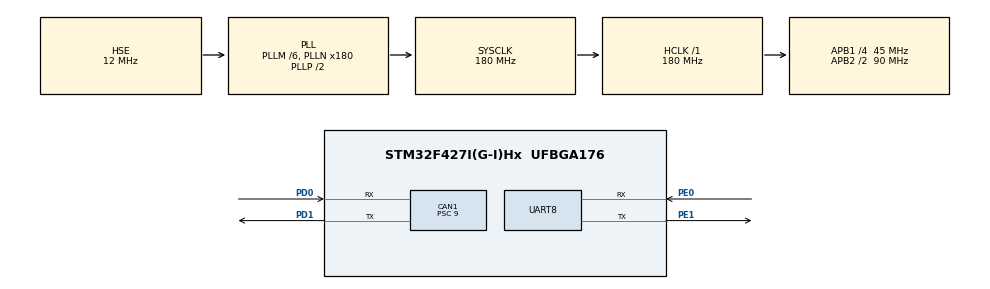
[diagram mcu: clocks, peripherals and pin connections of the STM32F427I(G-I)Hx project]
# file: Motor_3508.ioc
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CAN1.BS1=CAN_BS1_3TQ
CAN1.CalculateBaudRate=1000000
CAN1.CalculateTimeBit=1000
CAN1.CalculateTimeQuantum=200.0
CAN1.Prescaler=9
Mcu.Family=STM32F4
Mcu.Name=STM32F427I(G-I)Hx
Mcu.Package=UFBGA176
NVIC.CAN1_RX0_IRQn=true\:0\:0\:false\:false\:true\:true\:true\:true
NVIC.PriorityGroup=NVIC_PRIORITYGROUP_4
NVIC.UART8_IRQn=true\:1\:0\:true\:false\:true\:true\:true\:true
PA13.Mode=Serial_Wire
PA13.Signal=SYS_JTMS-SWDIO
PA14.Mode=Serial_Wire
PA14.Signal=SYS_JTCK-SWCLK
PC14/OSC32_IN.Mode=LSE-External-Clock-Source
PC14/OSC32_IN.Signal=RCC_OSC32_IN
PC15/OSC32_OUT.Mode=LSE-External-Clock-Source
PC15/OSC32_OUT.Signal=RCC_OSC32_OUT
PD0.Mode=CAN_Activate
PD0.Signal=CAN1_RX
PD1.Mode=CAN_Activate
PD1.Signal=CAN1_TX
PE0.Mode=Asynchronous
PE0.Signal=UART8_RX
PE1.Mode=Asynchronous
PE1.Signal=UART8_TX
PH0/OSC_IN.Mode=HSE-External-Oscillator
PH0/OSC_IN.Signal=RCC_OSC_IN
PH1/OSC_OUT.Mode=HSE-External-Oscillator
PH1/OSC_OUT.Signal=RCC_OSC_OUT
ProjectManager.HeapSize=0x200
ProjectManager.StackSize=0x400
ProjectManager.TargetToolchain=STM32CubeIDE
RCC.48MHZClocksFreq_Value=90000000
RCC.AHBFreq_Value=180000000
RCC.APB1CLKDivider=RCC_HCLK_DIV4
RCC.APB1Freq_Value=45000000
RCC.APB1TimFreq_Value=90000000
RCC.APB2CLKDivider=RCC_HCLK_DIV2
RCC.APB2Freq_Value=90000000
RCC.APB2TimFreq_Value=180000000
RCC.CortexFreq_Value=180000000
RCC.HCLKFreq_Value=180000000
RCC.HSE_VALUE=12000000
RCC.HSI_VALUE=16000000
RCC.LSE_VALUE=32768
RCC.PLLM=6
RCC.PLLN=180
RCC.PLLSourceVirtual=RCC_PLLSOURCE_HSE
RCC.SYSCLKFreq_VALUE=180000000
RCC.SYSCLKSource=RCC_SYSCLKSOURCE_PLLCLK
RCC.VCOOutputFreq_Value=360000000
UART8.VirtualMode=Asynchronous
board=custom

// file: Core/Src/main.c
/* USER CODE BEGIN Header */
/**
  ******************************************************************************
  * @file           : main.c
  * @brief          : Main program body
  ******************************************************************************
  * @attention
  *
  * Copyright (c) 2023 STMicroelectronics.
  * All rights reserved.
  *
  * This software is licensed under terms that can be found in the LICENSE file
  * in the root directory of this software component.
  * If no LICENSE file comes with this software, it is provided AS-IS.
  *
  ******************************************************************************
  */
/* USER CODE END Header */
#include "main.h"
#include "can.h"
#include "usart.h"
#include "gpio.h"

/* USER CODE BEGIN Includes */
#include "bsp_LED.h"
#include "DJI.h"
#include "Caculate.h"
#include "wtr_can.h"
#include "retarget/retarget.h"
/* USER CODE END Includes */

void SystemClock_Config(void);

/* USER CODE BEGIN 0 */
uint8_t RxBuffer[5] = {0};
float motor_1 = 0.0;
float motor_2 = 0.0;
/* USER CODE END 0 */

int main(void)
{

  /* MCU Configuration--------------------------------------------------------*/

  /* Reset of all peripherals, Initializes the Flash interface and the Systick. */
  HAL_Init();

  /* Configure the system clock */
  SystemClock_Config();

  /* Initialize all configured peripherals */
  MX_GPIO_Init();
  MX_CAN1_Init();
  MX_UART8_Init();
  /* USER CODE BEGIN 2 */
    RetargetInit(&huart8);
    LED_GPIOG_Init();
    HAL_GPIO_WritePin(GPIOG,GPIO_PIN_1,GPIO_PIN_RESET);
    HAL_GPIO_WritePin(GPIOG,GPIO_PIN_2,GPIO_PIN_RESET);
    CANFilterInit(&hcan1);
    hDJI[0].motorType = M3508;
<<<<<<< HEAD:Motor_3508_driver/Core/Src/main.c
    hDJI[1].motorType = M3508;
    DJI_Init();
=======
    hDJI[1].motorType = M2006;

    DJI_Init();

    HAL_UARTEx_ReceiveToIdle_IT(&huart8,RxBuffer,5);
>>>>>>> 23c033ee4ae4138d84e5a15d9bd58137019c1e42:Motor_3508/Core/Src/main.c

  /* USER CODE END 2 */

  /* Infinite loop */
  /* USER CODE BEGIN WHILE */
  while (1)
  {
<<<<<<< HEAD:Motor_3508_driver/Core/Src/main.c
      speedServo(9000,&hDJI[0]);
      speedServo(-9000,&hDJI[1]);
      CanTransmit_DJI_1234(&hcan1,hDJI[0].speedPID.output,hDJI[1].speedPID.output,0,0);
=======
      positionServo(motor_1,&hDJI[0]);
      positionServo(motor_2,&hDJI[1]);
      CanTransmit_DJI_1234(&hcan1,hDJI[0].speedPID.output,hDJI[1].speedPID.output,0,0);
      //printf("%f,%f\n",hDJI[0].AxisData.AxisAngle_inDegree,hDJI[0].AxisData.AxisVelocity);
      printf("%f\n",motor_1);
>>>>>>> 23c033ee4ae4138d84e5a15d9bd58137019c1e42:Motor_3508/Core/Src/main.c
      HAL_Delay(2);
    /* USER CODE END WHILE */

  }
}

void SystemClock_Config(void)
{
  RCC_OscInitTypeDef RCC_OscInitStruct = {0};
  RCC_ClkInitTypeDef RCC_ClkInitStruct = {0};

  /** Configure the main internal regulator output voltage
  */
  __HAL_RCC_PWR_CLK_ENABLE();
  __HAL_PWR_VOLTAGESCALING_CONFIG(PWR_REGULATOR_VOLTAGE_SCALE1);

  /** Initializes the RCC Oscillators according to the specified parameters
  * in the RCC_OscInitTypeDef structure.
  */
  RCC_OscInitStruct.OscillatorType = RCC_OSCILLATORTYPE_HSE;
  RCC_OscInitStruct.HSEState = RCC_HSE_ON;
  RCC_OscInitStruct.PLL.PLLState = RCC_PLL_ON;
  RCC_OscInitStruct.PLL.PLLSource = RCC_PLLSOURCE_HSE;
  RCC_OscInitStruct.PLL.PLLM = 6;
  RCC_OscInitStruct.PLL.PLLN = 180;
  RCC_OscInitStruct.PLL.PLLP = RCC_PLLP_DIV2;
  RCC_OscInitStruct.PLL.PLLQ = 4;
  if (HAL_RCC_OscConfig(&RCC_OscInitStruct) != HAL_OK)
  {
    Error_Handler();
  }

  /** Activate the Over-Drive mode
  */
  if (HAL_PWREx_EnableOverDrive() != HAL_OK)
  {
    Error_Handler();
  }

  /** Initializes the CPU, AHB and APB buses clocks
  */
  RCC_ClkInitStruct.ClockType = RCC_CLOCKTYPE_HCLK|RCC_CLOCKTYPE_SYSCLK
                              |RCC_CLOCKTYPE_PCLK1|RCC_CLOCKTYPE_PCLK2;
  RCC_ClkInitStruct.SYSCLKSource = RCC_SYSCLKSOURCE_PLLCLK;
  RCC_ClkInitStruct.AHBCLKDivider = RCC_SYSCLK_DIV1;
  RCC_ClkInitStruct.APB1CLKDivider = RCC_HCLK_DIV4;
  RCC_ClkInitStruct.APB2CLKDivider = RCC_HCLK_DIV2;

  if (HAL_RCC_ClockConfig(&RCC_ClkInitStruct, FLASH_LATENCY_5) != HAL_OK)
  {
    Error_Handler();
  }
}

/* USER CODE BEGIN 4 */

void HAL_UARTEx_RxEventCallback(UART_HandleTypeDef *huart, uint16_t Size)
{
    if(huart->Instance == UART8)
    {
        HAL_UART_Transmit(&huart8,RxBuffer,5,0xff);
        if(RxBuffer[0] == 0x31 && RxBuffer[1] == 0x3A)
        {
            motor_1 = (RxBuffer[3]==0x0A)? (float )(RxBuffer[2]-48) : (float )(((RxBuffer[2]-48)*10)+(RxBuffer[3]-48)) ;
        }
        else if(RxBuffer[0] == 0x32 && RxBuffer[1] == 0x3A)
        {
            motor_2 = (RxBuffer[3]==0x0A)? (float )(RxBuffer[2]-48) : (float )(((RxBuffer[2]-48)*10)+(RxBuffer[3]-48)) ;
        }
        HAL_UARTEx_ReceiveToIdle_IT(&huart8,RxBuffer,5);
    }
}

/* USER CODE END 4 */

void Error_Handler(void)
{
  __disable_irq();
  while (1)
  {
  }
}
